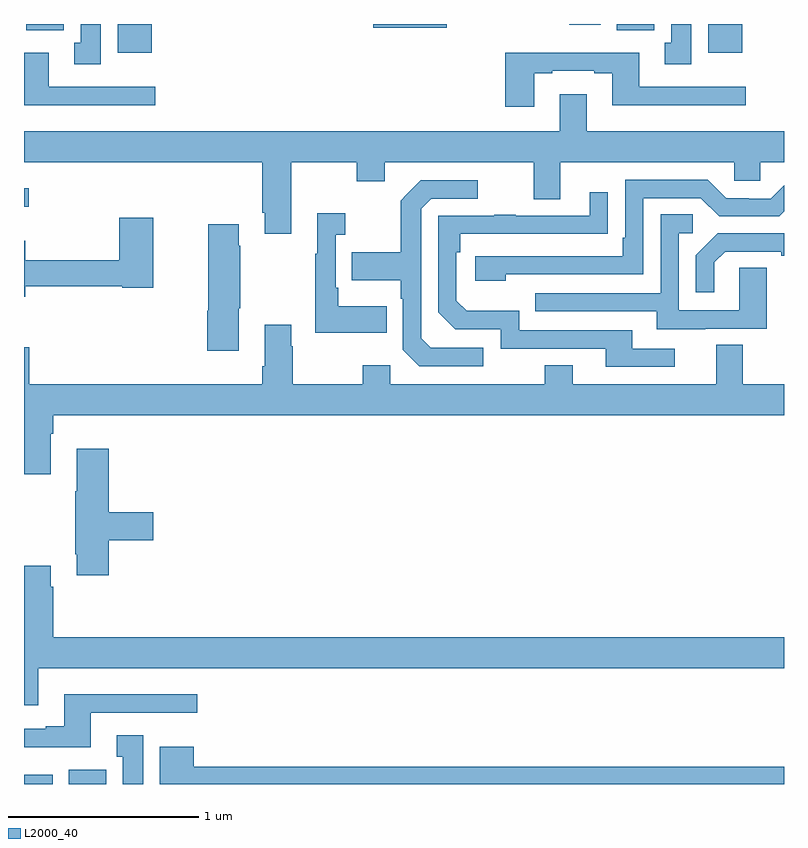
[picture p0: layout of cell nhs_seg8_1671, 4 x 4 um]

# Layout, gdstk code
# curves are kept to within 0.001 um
import gdstk
lib = gdstk.Library(unit=1e-6, precision=1e-09)
def R(c, l, rs):  # rectangles x0, y0, x1, y1
    for r in rs: c.add(gdstk.rectangle(r[:2], r[2:], *l))
def P(c, l, *ps):  # polygons
    for p in ps: c.add(gdstk.Polygon(p, *l))
L2000_40 = (2000, 40)

nhs_seg8_1671 = lib.new_cell('nhs_seg8_1671')
R(nhs_seg8_1671, L2000_40, [(217,1107.9,217.15,1107.949), (217.235,1107.9,217.432,1107.976), (217,1110.939,217.024,1111.036), (217.493,1111.748,217.672,1111.9), (220.601,1111.748,220.78,1111.9), (217.013,1111.868,217.21,1111.9), (220.121,1111.868,220.318,1111.9), (218.838,1111.88,219.226,1111.9), (219.869,1111.896,220.036,1111.9)])
P(nhs_seg8_1671, L2000_40, [(220.513,1111.9),(220.406,1111.9),(220.406,1111.802),(220.373,1111.802),(220.373,1111.689),(220.513,1111.689)],
  [(217.405,1111.9),(217.298,1111.9),(217.298,1111.802),(217.265,1111.802),(217.265,1111.689),(217.405,1111.689)],
  [(219.685,1111.641),(219.781,1111.641),(219.781,1111.653),(220.001,1111.653),(220.001,1111.641),(220.097,1111.641),(220.097,1111.472),(220.798,1111.472),(220.798,1111.569),(220.237,1111.569),(220.237,1111.75),(219.533,1111.75),(219.533,1111.464),(219.685,1111.464)],
  [(217.69,1111.569),(217.129,1111.569),(217.129,1111.75),(217,1111.75),(217,1111.472),(217.69,1111.472)],
  [(217,1111.172),(218.255,1111.172),(218.255,1110.907),(218.267,1110.907),(218.267,1110.795),(218.407,1110.795),(218.407,1111.172),(218.752,1111.172),(218.752,1111.073),(218.899,1111.073),(218.899,1111.172),(219.683,1111.172),(219.683,1110.978),(219.823,1110.978),(219.823,1111.172),(220.737,1111.172),(220.737,1111.074),(220.875,1111.074),(220.875,1111.172),(221,1111.172),(221,1111.336),(219.961,1111.336),(219.961,1111.531),(219.821,1111.531),(219.821,1111.336),(217,1111.336)],
  [(219.536,1110.582),(220.26,1110.582),(220.26,1110.984),(220.563,1110.984),(220.659,1110.888),(220.974,1110.888),(221,1110.914),(221,1111.052),(220.929,1110.981),(220.814,1110.981),(220.814,1110.984),(220.695,1110.984),(220.599,1111.08),(220.164,1111.08),(220.164,1110.775),(220.151,1110.775),(220.151,1110.678),(219.375,1110.678),(219.375,1110.548),(219.536,1110.548)],
  [(219.418,1110.195),(219.141,1110.195),(219.09,1110.246),(219.09,1110.927),(219.144,1110.981),(219.388,1110.981),(219.388,1111.077),(219.087,1111.077),(218.982,1110.971),(218.982,1110.699),(218.725,1110.699),(218.725,1110.551),(218.982,1110.551),(218.982,1110.455),(218.994,1110.455),(218.994,1110.186),(219.081,1110.099),(219.418,1110.099)],
  [(220.426,1110.192),(220.201,1110.192),(220.201,1110.288),(219.606,1110.288),(219.606,1110.391),(219.329,1110.391),(219.276,1110.444),(219.276,1110.698),(219.296,1110.698),(219.296,1110.795),(220.073,1110.796),(220.073,1111.015),(219.977,1111.015),(219.977,1110.891),(219.587,1110.891),(219.587,1110.896),(219.475,1110.896),(219.475,1110.891),(219.18,1110.891),(219.18,1110.384),(219.27,1110.294),(219.51,1110.294),(219.51,1110.192),(220.061,1110.192),(220.061,1110.096),(220.426,1110.096)],
  [(218.909,1110.415),(218.653,1110.415),(218.653,1110.511),(218.64,1110.511),(218.64,1110.791),(218.692,1110.791),(218.692,1110.904),(218.543,1110.904),(218.543,1110.691),(218.532,1110.691),(218.532,1110.275),(218.909,1110.275)],
  [(220.585,1110.297),(220.909,1110.297),(220.909,1110.617),(220.764,1110.617),(220.764,1110.393),(220.446,1110.393),(220.446,1110.798),(220.519,1110.798),(220.519,1110.899),(220.35,1110.899),(220.35,1110.483),(219.691,1110.483),(219.691,1110.387),(220.331,1110.387),(220.331,1110.293),(220.585,1110.293)],
  [(217.006,1110.52),(217.518,1110.52),(217.518,1110.512),(217.68,1110.512),(217.68,1110.88),(217.502,1110.88),(217.502,1110.656),(217.006,1110.656),(217.006,1110.76),(217,1110.76),(217,1110.464),(217.006,1110.464)],
  [(218.131,1110.403),(218.139,1110.403),(218.139,1110.734),(218.131,1110.734),(218.131,1110.847),(217.969,1110.847),(217.969,1110.392),(217.964,1110.392),(217.964,1110.18),(218.131,1110.18)],
  [(220.633,1110.645),(220.69,1110.702),(220.985,1110.702),(220.985,1110.68),(221,1110.68),(221,1110.798),(220.652,1110.798),(220.536,1110.682),(220.536,1110.489),(220.633,1110.489)],
  [(217.141,1109.744),(217.154,1109.744),(217.154,1109.84),(221,1109.84),(221,1110.004),(220.783,1110.004),(220.783,1110.212),(220.643,1110.212),(220.643,1110.004),(219.889,1110.004),(219.889,1110.103),(219.742,1110.103),(219.742,1110.004),(218.928,1110.004),(218.928,1110.103),(218.782,1110.103),(218.782,1110.004),(218.415,1110.004),(218.415,1110.203),(218.407,1110.203),(218.407,1110.316),(218.267,1110.316),(218.267,1110.1),(218.255,1110.1),(218.255,1110.004),(217.028,1110.004),(217.028,1110.199),(217,1110.199),(217,1109.641),(217.001,1109.641),(217.001,1109.529),(217.141,1109.529)],
  [(217.445,1109.183),(217.681,1109.183),(217.681,1109.33),(217.445,1109.33),(217.445,1109.665),(217.277,1109.665),(217.277,1109.441),(217.27,1109.441),(217.27,1109.11),(217.277,1109.11),(217.277,1108.998),(217.445,1108.998)],
  [(217.075,1108.508),(221,1108.508),(221,1108.672),(217.154,1108.672),(217.154,1108.937),(217.141,1108.937),(217.141,1109.05),(217.001,1109.05),(217.001,1108.672),(217,1108.672),(217,1108.314),(217.075,1108.314)],
  [(217.351,1108.275),(217.912,1108.275),(217.912,1108.372),(217.211,1108.372),(217.211,1108.204),(217.115,1108.204),(217.115,1108.191),(217,1108.191),(217,1108.094),(217.351,1108.094)],
  [(217.627,1108.156),(217.487,1108.156),(217.487,1108.043),(217.52,1108.043),(217.52,1107.9),(217.627,1107.9)],
  [(221,1107.992),(217.894,1107.992),(217.894,1108.096),(217.715,1108.096),(217.715,1107.9),(221,1107.9)])

lib.write_gds('nhs_seg8_1671.gds')
